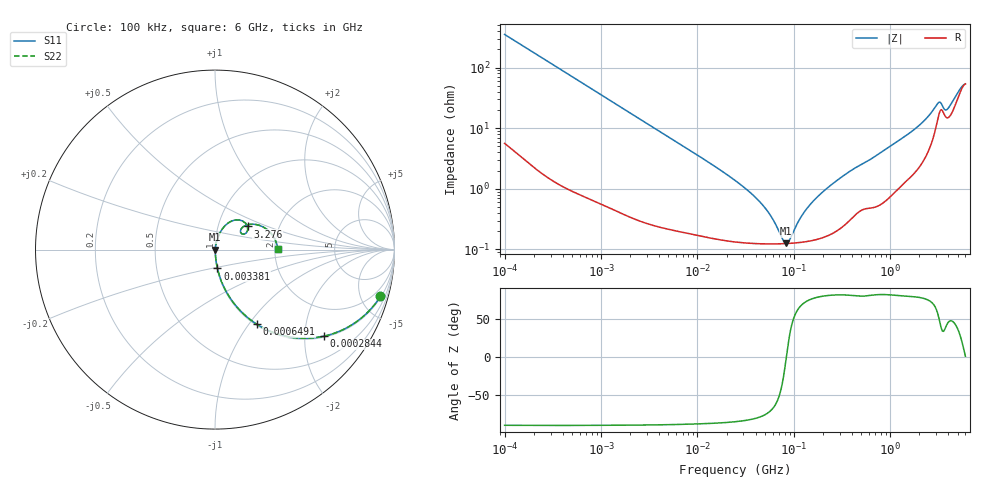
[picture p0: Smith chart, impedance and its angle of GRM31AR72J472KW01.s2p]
!Murata Part Number: GRM31AR72J472KW01
!These Parameters are Measured in Series Mode Connection
!Data Generated on Mar 30, 2021
!  o--ll--o
!Port1  Port2
!  o------o
!Operation Temp=25[degC], DC Bias Voltage=0[V]
!Freq. Start=100[kHz] Stop=6[GHz] 401[Steps]
# Hz S RI R 50
!Freq.(Hz) S11(Real) S11(Imag) S21(Real) S21(Imag) S12(Real) S12(Imag) S22(Real) S22(Imag)
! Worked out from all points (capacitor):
!   401 points, 100 kHz to 6 GHz, reference 50 ohm
!   read as one part in series: C = 4.52 nF near 105.7 kHz
!   lowest |Z| = 126 mohm at 82.16 MHz (marker M1)
!   series resonance near 83.4 MHz, so ESL is about 810 pH
!   S11 on the Smith chart (normalised r, x): 100 kHz: 1.11, -7.03; 284.4 kHz: 1.03, -2.49; 649.1 kHz: 1.02, -1.10; 3.381 MHz: 1.01, -0.21; 3.276 GHz: 1.38, +0.38; 6 GHz: 2.07, +0.02
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100000  0.9215 -0.2611  0.0785 0.2611  0.0785 0.2611  0.9215 -0.2611
168641  0.811 -0.3848  0.189 0.3848  0.189 0.3848  0.811 -0.3848
284397  0.6067 -0.4825  0.3933 0.4825  0.3933 0.4825  0.6067 -0.4825
631452  0.2439 -0.4226  0.7561 0.4226  0.7561 0.4226  0.2439 -0.4226
649061  0.2341 -0.4166  0.7659 0.4166  0.7659 0.4166  0.2341 -0.4166
1290982  0.075 -0.2551  0.925 0.2551  0.925 0.2551  0.075 -0.2551
3380714  0.0136 -0.1047  0.9864 0.1047  0.9864 0.1047  0.0136 -0.1047
3987316  0.0104 -0.0891  0.9896 0.0891  0.9896 0.0891  0.0104 -0.0891
2.517799e7  0.0015 -0.0132  0.9985 0.0132  0.9985 0.0132  0.0015 -0.0132
5.007898e7  0.00126 -0.0047  0.9987 0.0047  0.9987 0.0047  0.00126 -0.0047
8.216224e7  0.00125 -0.000131  0.9988 0.000131  0.9988 0.000131  0.00125 -0.000131
8.922949e7  0.00126 0.000598  0.9987 -0.000598  0.9987 -0.000598  0.00126 0.000598
1.174795e8  0.00131 0.00309  0.9987 -0.00309  0.9987 -0.00309  0.00131 0.00309
1.546735e8  0.00143 0.00582  0.9986 -0.00582  0.9986 -0.00582  0.00143 0.00582
3.162247e8  0.00257 0.0156  0.9974 -0.0156  0.9974 -0.0156  0.00257 0.0156
9.76689e8  0.00943 0.0481  0.9906 -0.0481  0.9906 -0.0481  0.00943 0.0481
2.2912e9  0.0473 0.1235  0.9527 -0.1235  0.9527 -0.1235  0.0473 0.1235
3.016594e9  0.1345 0.165  0.8655 -0.165  0.8655 -0.165  0.1345 0.165
3.276068e9  0.1812 0.1293  0.8188 -0.1293  0.8188 -0.1293  0.1812 0.1293
3.863894e9  0.1416 0.1035  0.8584 -0.1035  0.8584 -0.1035  0.1416 0.1035
4.814911e9  0.2333 0.1389  0.7667 -0.1389  0.7667 -0.1389  0.2333 0.1389
6e9  0.3495 0.00502  0.6505 -0.00502  0.6505 -0.00502  0.3495 0.00502
